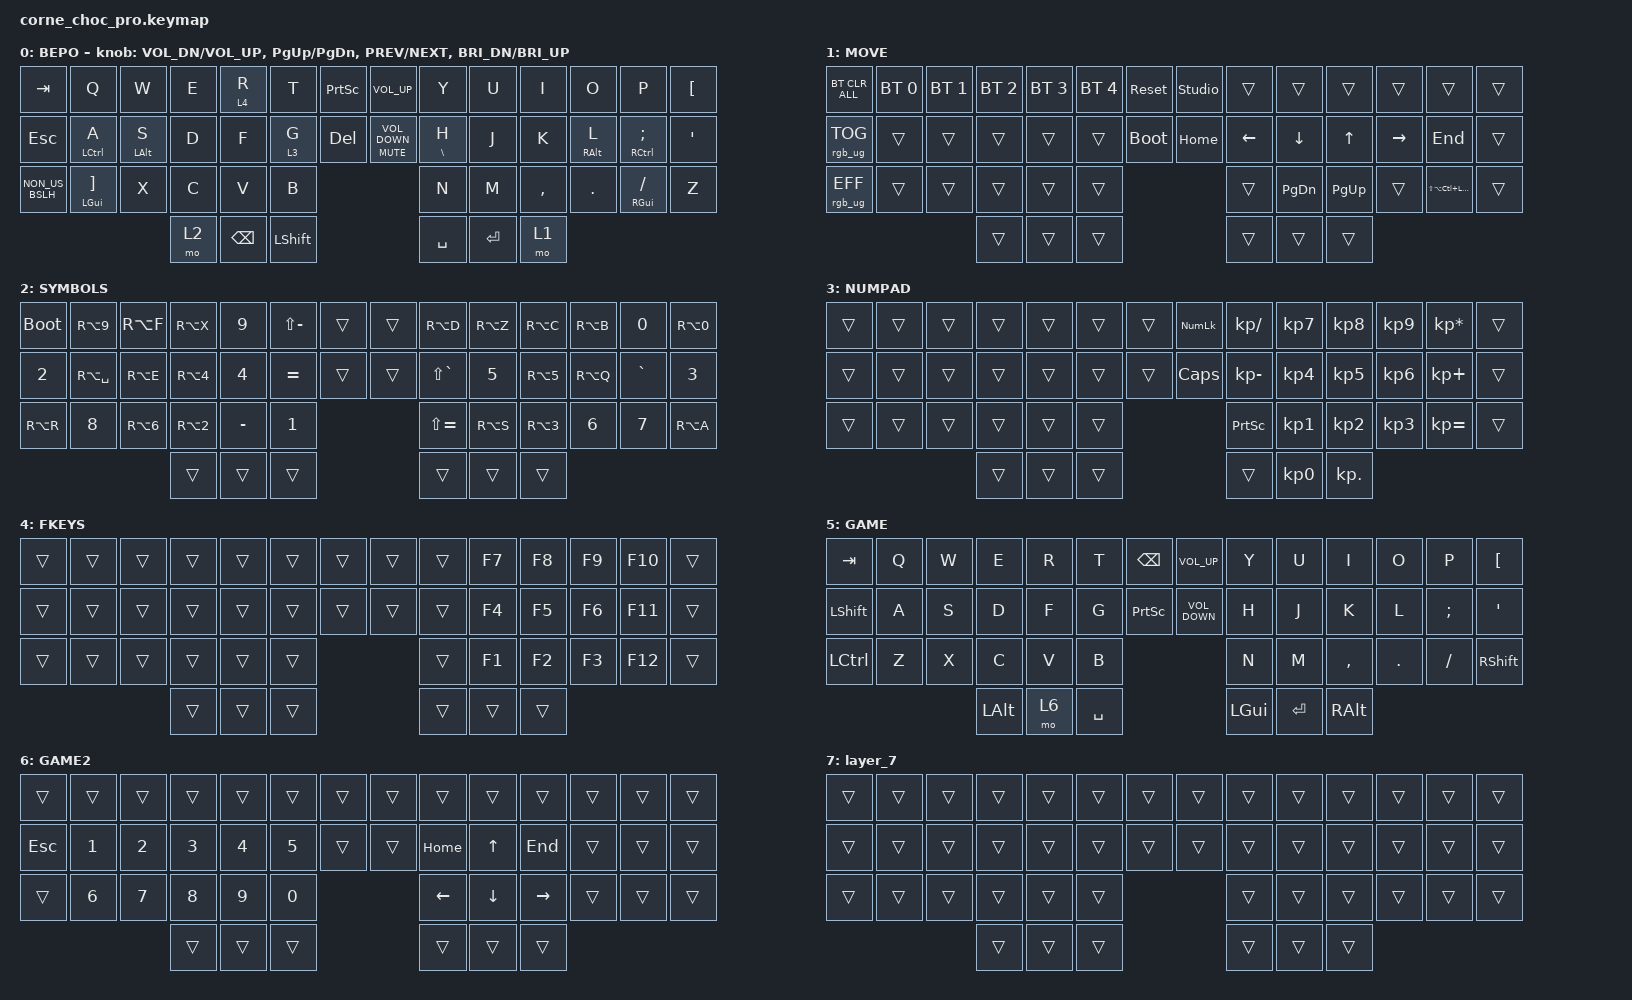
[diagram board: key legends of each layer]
/*
 * Copyright (c) 2020 The ZMK Contributors
 *
 * SPDX-License-Identifier: MIT
 */

#include <behaviors.dtsi>
#include <dt-bindings/zmk/bt.h>
#include <dt-bindings/zmk/keys.h>
#include <dt-bindings/zmk/rgb.h>

/ {
    chosen { zmk,physical-layout = &default_layout; };
};

/ {
    behaviors {
        hmr: hmr {
            compatible = "zmk,behavior-hold-tap";
            label = "HMR";
            bindings = <&kp>, <&kp>;

            #binding-cells = <2>;
            tapping-term-ms = <200>;
            flavor = "balanced";
            hold-trigger-key-positions = <0 1 5 6 14 15 16 17 18 19 20 28 29 30 31 32 33 40 41 42 2 3 4 5 17 43 44 45>;
            quick-tap-ms = <175>;
            require-prior-idle-ms = <150>;
            hold-trigger-on-release;
        };

        hml: hml {
            compatible = "zmk,behavior-hold-tap";
            label = "HML";
            bindings = <&kp>, <&kp>;

            #binding-cells = <2>;
            tapping-term-ms = <200>;
            flavor = "balanced";
            hold-trigger-key-positions = <7 21 22 23 24 25 26 27 34 35 36 37 38 39 43 44 45 8 9 10 11 12 13 40 41 42>;
            quick-tap-ms = <175>;
            require-prior-idle-ms = <150>;
            hold-trigger-on-release;
        };
    };

    combos {
        compatible = "zmk,combos";

        game {
            bindings = <&tog 5>;
            key-positions = <11 12 13>;
            layers = <0 5>;
        };
    };

    keymap {
        compatible = "zmk,keymap";

        BEPO {
            display-name = "BEPO";

            // -------------------------------------------------------------------------------------------
            // | TAB |  b  |  é  |  p  |  o   |  è   | MUTE | VOLUP |  ^  |  v   |  d  |  l  |  l  |  z  |
            // | ESC |  a  |  u  |  i  |  e   |  ,   |      | VOLDN |  c  |  t   |  s  |  r  |  n  |  m  |
            // |  ê  |  w  |  y  |  x  |  .   |  k   |              |  '  |  q   |  g  |  h  |  f  |  à  |
            //                   | LWR | SHFT | BSPC |              | RSE | SPC  | ENT |

            bindings = <
&kp TAB          &kp Q                        &kp W            &kp E  &lt 4 R        &kp T           &kp PRINTSCREEN  &kp K_VOLUME_UP           &kp Y             &kp U      &kp I      &kp O             &kp P                 &kp LEFT_BRACKET
&kp ESCAPE       &hml LCTRL A                 &hml LEFT_ALT S  &kp D  &kp F          &lt 3 G         &kp DELETE       &mt K_MUTE K_VOLUME_DOWN  &hmr BACKSLASH H  &kp J      &kp K      &hmr RIGHT_ALT L  &hmr RCTRL SEMI       &kp APOSTROPHE
&kp NON_US_BSLH  &hml LEFT_GUI RIGHT_BRACKET  &kp X            &kp C  &kp V          &kp B                                                      &kp N             &kp M      &kp COMMA  &kp PERIOD        &hmr RIGHT_GUI SLASH  &kp Z
                                                               &mo 2  &kp BACKSPACE  &kp LEFT_SHIFT                                             &kp SPACE         &kp ENTER  &mo 1
            >;

            sensor-bindings = <&inc_dec_kp C_VOL_DN C_VOL_UP &inc_dec_kp PG_UP PG_DN &inc_dec_kp C_PREV C_NEXT &inc_dec_kp C_BRI_DN C_BRI_UP>;
        };

        MOVE {
            display-name = "MOVE";

            // -----------------------------------------------------------------------------------------
            // |      |     |     |     |     |       |      |      |     |     |     |     |     |    |
            // | CTRL | BT1 | BT2 | BT3 | BT4 | BT5   |      | HOME | LFT | DWN |  UP | RGT | END |    |
            // | BTCR | HYPR| RGB | RST | BOOT| Unlock|             |     |     |     |     |     |    |
            //                    |     |     |       |             |     |     |

            bindings = <
&bt BT_CLR_ALL   &bt BT_SEL 0  &bt BT_SEL 1  &bt BT_SEL 2  &bt BT_SEL 3  &bt BT_SEL 4  &sys_reset   &studio_unlock  &trans    &trans         &trans       &trans     &trans                    &trans
&rgb_ug RGB_TOG  &trans        &trans        &trans        &trans        &trans        &bootloader  &kp HOME        &kp LEFT  &kp DOWN       &kp UP       &kp RIGHT  &kp END                   &trans
&rgb_ug RGB_EFF  &trans        &trans        &trans        &trans        &trans                                     &trans    &kp PAGE_DOWN  &kp PAGE_UP  &trans     &kp LS(LA(LC(LEFT_GUI)))  &trans
                                             &trans        &trans        &trans                                     &trans    &trans         &trans
            >;
        };

        SYMBOLS {
            display-name = "SYMBOLS";

            // ---------------------------------------------------------------------------------------
            // |    |  ÷  |  €  |  {  |  /  |  °  |       |       |  ^  |  \  |  }  |  ~  |  *  | ×  |
            // | «  |  _  |  &  |  [  |  (  |  %  |       |       |  #  |  )  |  ]  | "|" |  $  | »  |
            // | œ  |  -  |  ^  |  <  |  =  |  "  |               |  `  |  ù  |  >  |  @  |  +  | æ  |
            //                  |     |     |     |               |     |     |     |

            bindings = <
&bootloader  &kp RA(N9)     &kp RA(F)   &kp RA(X)         &kp N9        &kp LS(MINUS)  &trans  &trans  &kp RA(D)      &kp RA(Z)     &kp RA(C)         &kp RA(B)  &kp N0     &kp RA(N0)
&kp N2       &kp RA(SPACE)  &kp RA(E)   &kp RA(NUMBER_4)  &kp NUMBER_4  &kp EQUAL      &trans  &trans  &kp LS(GRAVE)  &kp NUMBER_5  &kp RA(NUMBER_5)  &kp RA(Q)  &kp GRAVE  &kp N3
&kp RA(R)    &kp N8         &kp RA(N6)  &kp RA(N2)        &kp MINUS     &kp N1                         &kp LS(EQUAL)  &kp RA(S)     &kp RA(NUMBER_3)  &kp N6     &kp N7     &kp RA(A)
                                        &trans            &trans        &trans                         &trans         &trans        &trans
            >;
        };

        NUMPAD {
            display-name = "NUMPAD";

            // ---------------------------------------------------------------------------------
            // |   |    |    |    |    |    |       | NLOCK |  /  |  7  |  8  |  9  |  *  |    |
            // |   |    |    |    |    |    |       | CLOCK |  -  |  4  |  5  |  6  |  +  |    |
            // |   |    |    |    |    |    |               |     |  1  |  2  |  3  |  =  |    |
            //               |    |    |    |               |     |  0  |  .  |

            bindings = <
&trans  &trans  &trans  &trans  &trans  &trans  &trans  &kp KP_NUMLOCK  &kp KP_DIVIDE    &kp KP_NUMBER_7  &kp KP_NUMBER_8  &kp KP_N9        &kp KP_MULTIPLY  &trans
&trans  &trans  &trans  &trans  &trans  &trans  &trans  &kp CAPSLOCK    &kp KP_MINUS     &kp KP_NUMBER_4  &kp KP_NUMBER_5  &kp KP_NUMBER_6  &kp KP_PLUS      &trans
&trans  &trans  &trans  &trans  &trans  &trans                          &kp PRINTSCREEN  &kp KP_NUMBER_1  &kp KP_NUMBER_2  &kp KP_NUMBER_3  &kp KP_EQUAL     &trans
                        &trans  &trans  &trans                          &trans           &kp KP_NUMBER_0  &kp KP_DOT
            >;
        };

        FKEYS {
            display-name = "FKEYS";

            // ---------------------------------------------------------------------------------
            // |   |    |    |    |    |    |       |       |     | F7  | F8  | F9  | F10 |    |
            // |   |    |    |    |    |    |       |       |     | F4  | F5  | F6  | F11 |    |
            // |   |    |    |    |    |    |               |     | F1  | F2  | F3  | F12 |    |
            //               |    |    |    |               |     |     |     |

            bindings = <
&trans  &trans  &trans  &trans  &trans  &trans  &trans  &trans  &trans  &kp F7  &kp F8  &kp F9  &kp F10  &trans
&trans  &trans  &trans  &trans  &trans  &trans  &trans  &trans  &trans  &kp F4  &kp F5  &kp F6  &kp F11  &trans
&trans  &trans  &trans  &trans  &trans  &trans                  &trans  &kp F1  &kp F2  &kp F3  &kp F12  &trans
                        &trans  &trans  &trans                  &trans  &trans  &trans
            >;
        };

        GAME {
            bindings = <
&kp TAB    &kp Q  &kp W  &kp E     &kp R  &kp T      &kp BACKSPACE    &kp K_VOLUME_UP    &kp Y         &kp U      &kp I      &kp O    &kp P     &kp LBKT
&kp LSHFT  &kp A  &kp S  &kp D     &kp F  &kp G      &kp PRINTSCREEN  &kp K_VOLUME_DOWN  &kp H         &kp J      &kp K      &kp L    &kp SEMI  &kp APOS
&kp LCTRL  &kp Z  &kp X  &kp C     &kp V  &kp B                                          &kp N         &kp M      &kp COMMA  &kp DOT  &kp FSLH  &kp RSHFT
                         &kp LALT  &mo 6  &kp SPACE                                      &kp LEFT_GUI  &kp ENTER  &kp RALT
            >;
        };

        GAME2 {
            bindings = <
&trans      &trans  &trans  &trans  &trans  &trans  &trans  &trans  &trans    &trans    &trans     &trans  &trans  &trans
&kp ESCAPE  &kp N1  &kp N2  &kp N3  &kp N4  &kp N5  &trans  &trans  &kp HOME  &kp UP    &kp END    &trans  &trans  &trans
&trans      &kp N6  &kp N7  &kp N8  &kp N9  &kp N0                  &kp LEFT  &kp DOWN  &kp RIGHT  &trans  &trans  &trans
                            &trans  &trans  &trans                  &trans    &trans    &trans
            >;
        };

        layer_7 {
            bindings = <
&trans  &trans  &trans  &trans  &trans  &trans  &trans  &trans  &trans  &trans  &trans  &trans  &trans  &trans
&trans  &trans  &trans  &trans  &trans  &trans  &trans  &trans  &trans  &trans  &trans  &trans  &trans  &trans
&trans  &trans  &trans  &trans  &trans  &trans                  &trans  &trans  &trans  &trans  &trans  &trans
                        &trans  &trans  &trans                  &trans  &trans  &trans
            >;
        };
    };
};
